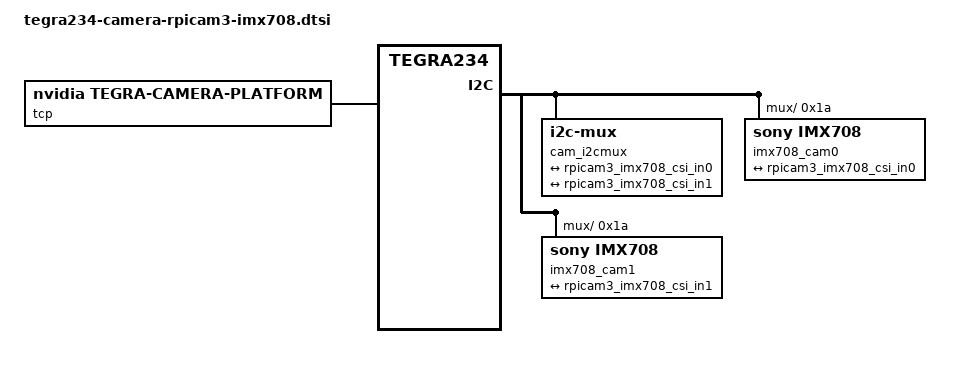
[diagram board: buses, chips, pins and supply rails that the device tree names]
// SPDX-License-Identifier: GPL-2.0-only
// SPDX-FileCopyrightText: Copyright (c) 2023-2024, NVIDIA CORPORATION & AFFILIATES. All rights reserved.

#include <dt-bindings/clock/tegra234-clock.h>
#include <dt-bindings/gpio/tegra234-gpio.h>

/ {
	fragment-camera@0 {
		target-path = "/";
		__overlay__ {
			tegra-capture-vi  {
				num-channels = <2>;
				ports {
					#address-cells = <1>;
					#size-cells = <0>;
					vi_port0: port@0 {
						reg = <0>;
						rpicam3_imx708_vi_in0: endpoint {
							port-index = <1>;
							bus-width = <2>;
							remote-endpoint = <&rpicam3_imx708_csi_out0>;
						};
					};
					vi_port1: port@1 {
						reg = <1>;
						rpicam3_imx708_vi_in1: endpoint {
							port-index = <2>;
							bus-width = <2>;
							remote-endpoint = <&rpicam3_imx708_csi_out1>;
						};
					};
				};
			};

			bus@0 {
				host1x@13e00000 {
					nvcsi@15a00000 {
						num-channels = <2>;
						#address-cells = <1>;
						#size-cells = <0>;
						csi_chan0: channel@0 {
							reg = <0>;
							ports {
								#address-cells = <1>;
								#size-cells = <0>;
								csi_chan0_port0: port@0 {
									reg = <0>;
									rpicam3_imx708_csi_in0: endpoint@0 {
										port-index = <1>;
										bus-width = <2>;
										remote-endpoint = <&rpicam3_imx708_out0>;
									};
								};
								csi_chan0_port1: port@1 {
									reg = <1>;
									rpicam3_imx708_csi_out0: endpoint@1 {
										remote-endpoint = <&rpicam3_imx708_vi_in0>;
									};
								};
							};
						};
						csi_chan1: channel@1 {
							reg = <1>;
							ports {
								#address-cells = <1>;
								#size-cells = <0>;
								csi_chan1_port0: port@0 {
									reg = <0>;
									rpicam3_imx708_csi_in1: endpoint@2 {
										port-index = <2>;
										bus-width = <2>;
										remote-endpoint = <&rpicam3_imx708_out1>;
									};
								};
								csi_chan1_port1: port@1 {
									reg = <1>;
									rpicam3_imx708_csi_out1: endpoint@3 {
										remote-endpoint = <&rpicam3_imx708_vi_in1>;
									};
								};
							};
						};
					};
				};	
				cam_i2cmux {
					i2c_0:i2c@0 {
						imx708_cam0: rpicam3_imx708_a@1a {
							compatible = "sony,imx708";
							/* I2C device address */
							reg = <0x1a>;
							/* V4L2 device node location */
							devnode = "video0";
							/* Physical dimensions of sensor */
							physical_w = "3.680";
							physical_h = "2.760";
							sensor_model = "imx708";
							use_sensor_mode_id = "true";
							/**
                                                        * ==== Modes ====
                                                        * A modeX node is required to support v4l2 driver
                                                        * implementation with NVIDIA camera software stack
                                                        *
                                                        * == Signal properties ==
                                                        *
                                                        * phy_mode = "";
                                                        * PHY mode used by the MIPI lanes for this device
                                                        *
                                                        * tegra_sinterface = "";
                                                        * CSI Serial interface connected to tegra
                                                        * Incase of virtual HW devices, use virtual
                                                        * For SW emulated devices, use host
                                                        *
                                                        * pix_clk_hz = "";
                                                        * Sensor pixel clock used for calculations like exposure and framerate
                                                        *
                                                        * readout_orientation = "0";
                                                        * Based on camera module orientation.
                                                        * Only change readout_orientation if you specifically
                                                        * Program a different readout order for this mode
                                                        *
                                                        * == Image format Properties ==
                                                        *
                                                        * active_w = "";
                                                        * Pixel active region width
                                                        *
                                                        * active_h = "";
                                                        * Pixel active region height
                                                        *
                                                        * pixel_t = "";
                                                        * The sensor readout pixel pattern
                                                        *
                                                        * line_length = "";
                                                        * Pixel line length (width) for sensor mode.
                                                        *
                                                        * == Source Control Settings ==
                                                        *
                                                        * Gain factor used to convert fixed point integer to float
                                                        * Gain range [min_gain/gain_factor, max_gain/gain_factor]
                                                        * Gain step [step_gain/gain_factor is the smallest step that can be configured]
                                                        * Default gain [Default gain to be initialized for the control.
                                                        *     use min_gain_val as default for optimal results]
                                                        * Framerate factor used to convert fixed point integer to float
                                                        * Framerate range [min_framerate/framerate_factor, max_framerate/framerate_factor]
                                                        * Framerate step [step_framerate/framerate_factor is the smallest step that can be configured]
                                                        * Default Framerate [Default framerate to be initialized for the control.
                                                        *     use max_framerate to get required performance]
                                                        * Exposure factor used to convert fixed point integer to float
                                                        * For convenience use 1 sec = 1000000us as conversion factor
                                                        * Exposure range [min_exp_time/exposure_factor, max_exp_time/exposure_factor]
                                                        * Exposure step [step_exp_time/exposure_factor is the smallest step that can be configured]
                                                        * Default Exposure Time [Default exposure to be initialized for the control.
                                                        *     Set default exposure based on the default_framerate for optimal exposure settings]
                                                        *
							* gain_factor = ""; (integer factor used for floating to fixed point conversion)
                                                        * min_gain_val = ""; (ceil to integer)
                                                        * max_gain_val = ""; (ceil to integer)
                                                        * step_gain_val = ""; (ceil to integer)
                                                        * default_gain = ""; (ceil to integer)
                                                        * Gain limits for mode
                                                        *
                                                        * exposure_factor = ""; (integer factor used for floating to fixed point conversion)
                                                        * min_exp_time = ""; (ceil to integer)
                                                        * max_exp_time = ""; (ceil to integer)
                                                        * step_exp_time = ""; (ceil to integer)
                                                        * default_exp_time = ""; (ceil to integer)
                                                        * Exposure Time limits for mode (sec)
                                                        *
                                                        * framerate_factor = ""; (integer factor used for floating to fixed point conversion)
                                                        * min_framerate = ""; (ceil to integer)
                                                        * max_framerate = ""; (ceil to integer)
                                                        * step_framerate = ""; (ceil to integer)
                                                        * default_framerate = ""; (ceil to integer)
                                                        * Framerate limits for mode (fps)
                                                        *
                                                        * embedded_metadata_height = "";
                                                        * Sensor embedded metadata height in units of rows.
                                                        * If sensor does not support embedded metadata value should be 0.
                                                        */
							mode0 { /* IMX708_MODE_4608x2592_14fps */
								mclk_khz = "24000";
								num_lanes = "2";
								tegra_sinterface = "serial_b";
								lane_polarity = "6";
								phy_mode = "DPHY";
								discontinuous_clk = "yes";
								dpcm_enable = "false";
								cil_settletime = "0";
								active_w = "4608";
								active_h = "2592";
								mode_type = "bayer";
								pixel_phase = "rggb";
								csi_pixel_bit_depth = "10";
								readout_orientation = "90";
								line_length = "4808";
								inherent_gain = "1";
								pix_clk_hz = "297600000"; 
								gain_factor = "16";
								framerate_factor = "1000000";
								exposure_factor = "1000000";
								min_gain_val = "16"; 
								max_gain_val = "256"; 
								step_gain_val = "1";
								default_gain = "16";
								min_hdr_ratio = "1";
								max_hdr_ratio = "1";
								min_framerate = "2000000";
								max_framerate = "14000000";
								step_framerate = "1";
								default_framerate = "14000000";
								min_exp_time = "500";
								max_exp_time = "65487";
								step_exp_time = "1";
								default_exp_time = "1600";
								embedded_metadata_height = "4";
							};
							ports {
								#address-cells = <1>;
								#size-cells = <0>;
								port@0 {
									reg = <0>;
									rpicam3_imx708_out0: endpoint {
										port-index = <1>;
										bus-width = <2>;
										remote-endpoint = <&rpicam3_imx708_csi_in0>;
									};
								};
							};
						};
					};
					i2c_1: i2c@1 {
						imx708_cam1: rpicam3_imx708_c@1a {
							compatible = "sony,imx708";
							/* I2C device address */
							reg = <0x1a>;
							/* V4L2 device node location */
							devnode = "video1";
							/* Physical dimensions of sensor */
							physical_w = "3.680";
							physical_h = "2.760";
							sensor_model = "imx708";
							use_sensor_mode_id = "true";
							/**
                                                        * ==== Modes ====
                                                        * A modeX node is required to support v4l2 driver
                                                        * implementation with NVIDIA camera software stack
                                                        *
                                                        * == Signal properties ==
                                                        *
                                                        * phy_mode = "";
                                                        * PHY mode used by the MIPI lanes for this device
                                                        *
                                                        * tegra_sinterface = "";
                                                        * CSI Serial interface connected to tegra
                                                        * Incase of virtual HW devices, use virtual
                                                        * For SW emulated devices, use host
                                                        *
                                                        * pix_clk_hz = "";
                                                        * Sensor pixel clock used for calculations like exposure and framerate
                                                        *
                                                        * readout_orientation = "0";
                                                        * Based on camera module orientation.
                                                        * Only change readout_orientation if you specifically
                                                        * Program a different readout order for this mode
                                                        *
                                                        * == Image format Properties ==
                                                        *
                                                        * active_w = "";
                                                        * Pixel active region width
                                                        *
                                                        * active_h = "";
                                                        * Pixel active region height
                                                        *
                                                        * pixel_t = "";
                                                        * The sensor readout pixel pattern
                                                        *
                                                        * line_length = "";
                                                        * Pixel line length (width) for sensor mode.
                                                        *
                                                        * == Source Control Settings ==
                                                        *
                                                        * Gain factor used to convert fixed point integer to float
                                                        * Gain range [min_gain/gain_factor, max_gain/gain_factor]
                                                        * Gain step [step_gain/gain_factor is the smallest step that can be configured]
                                                        * Default gain [Default gain to be initialized for the control.
                                                        *     use min_gain_val as default for optimal results]
                                                        * Framerate factor used to convert fixed point integer to float
                                                        * Framerate range [min_framerate/framerate_factor, max_framerate/framerate_factor]
                                                        * Framerate step [step_framerate/framerate_factor is the smallest step that can be configured]
                                                        * Default Framerate [Default framerate to be initialized for the control.
                                                        *     use max_framerate to get required performance]
                                                        * Exposure factor used to convert fixed point integer to float
                                                        * For convenience use 1 sec = 1000000us as conversion factor
                                                        * Exposure range [min_exp_time/exposure_factor, max_exp_time/exposure_factor]
                                                        * Exposure step [step_exp_time/exposure_factor is the smallest step that can be configured]
                                                        * Default Exposure Time [Default exposure to be initialized for the control.
                                                        *     Set default exposure based on the default_framerate for optimal exposure settings]
                                                        *
                                                        * gain_factor = ""; (integer factor used for floating to fixed point conversion)
                                                        * min_gain_val = ""; (ceil to integer)
                                                        * max_gain_val = ""; (ceil to integer)
                                                        * step_gain_val = ""; (ceil to integer)
                                                        * default_gain = ""; (ceil to integer)
                                                        * Gain limits for mode
							*
                                                        * exposure_factor = ""; (integer factor used for floating to fixed point conversion)
                                                        * min_exp_time = ""; (ceil to integer)
                                                        * max_exp_time = ""; (ceil to integer)
                                                        * step_exp_time = ""; (ceil to integer)
                                                        * default_exp_time = ""; (ceil to integer)
                                                        * Exposure Time limits for mode (sec)
                                                        *
                                                        * framerate_factor = ""; (integer factor used for floating to fixed point conversion)
                                                        * min_framerate = ""; (ceil to integer)
                                                        * max_framerate = ""; (ceil to integer)
                                                        * step_framerate = ""; (ceil to integer)
                                                        * default_framerate = ""; (ceil to integer)
                                                        * Framerate limits for mode (fps)
                                                        *
                                                        * embedded_metadata_height = "";
                                                        * Sensor embedded metadata height in units of rows.
                                                        * If sensor does not support embedded metadata value should be 0.
                                                        */	
							mode0 { /* IMX708_MODE_4608x2592_14fps */
								mclk_khz = "24000";
								num_lanes = "2";
								tegra_sinterface = "serial_c";
								phy_mode = "DPHY";
								discontinuous_clk = "yes";
								dpcm_enable = "false";
								cil_settletime = "0";
								active_w = "4608";
								active_h = "2592";
								mode_type = "bayer";
								pixel_phase = "rggb";
								csi_pixel_bit_depth = "10";
								readout_orientation = "90";
								line_length = "4808";
								inherent_gain = "1";
								pix_clk_hz = "297600000";
								gain_factor = "16";
								framerate_factor = "1000000";
								exposure_factor = "1000000";
								min_gain_val = "16"; 
								max_gain_val = "256"; 
								step_gain_val = "1";
								default_gain = "16";
								min_hdr_ratio = "1";
								max_hdr_ratio = "1";
								min_framerate = "2000000";
								max_framerate = "14000000";
								step_framerate = "1";
								default_framerate = "14000000";
								min_exp_time = "500";
								max_exp_time = "65487";
								step_exp_time = "1";
								default_exp_time = "1600";
								embedded_metadata_height = "4";
							};
							ports {
								#address-cells = <1>;
								#size-cells = <0>;
								port@0 {
									reg = <0>;
									rpicam3_imx708_out1: endpoint {
										port-index = <2>;
										bus-width = <2>;
										remote-endpoint = <&rpicam3_imx708_csi_in1>;
									};
								};
							};
						};
					};
				};
			};

			tcp: tegra-camera-platform {
				compatible = "nvidia, tegra-camera-platform";
				num_csi_lanes = <4>;
				max_lane_speed = <2500000>;
				min_bits_per_pixel = <10>;
				vi_peak_byte_per_pixel = <2>;
				vi_bw_margin_pct = <25>;
				max_pixel_rate = <7500000>;
				isp_peak_byte_per_pixel = <5>;
				isp_bw_margin_pct = <25>;
		
				modules {
					cam_module0: module0 {
						badge = "jakku_front_RBPCV3";
						position = "front";
						orientation = "1";
						cam_module0_drivernode0: drivernode0 {
							pcl_id = "v4l2_sensor";
							sysfs-device-tree = "/sys/firmware/devicetree/base/bus@0/cam_i2cmux/i2c@0/rpicam3_imx708_a@1a";
						};
					};
					cam_module1: module1 {
						badge = "jakku_rear_RBPCV3";
						position = "rear";
						orientation = "1";
						cam_module1_drivernode0: drivernode0 {
							pcl_id = "v4l2_sensor";
							sysfs-device-tree = "/sys/firmware/devicetree/base/bus@0/cam_i2cmux/i2c@1/rpicam3_imx708_c@1a";
						};
					};
				};
			};
		};
	};
};
